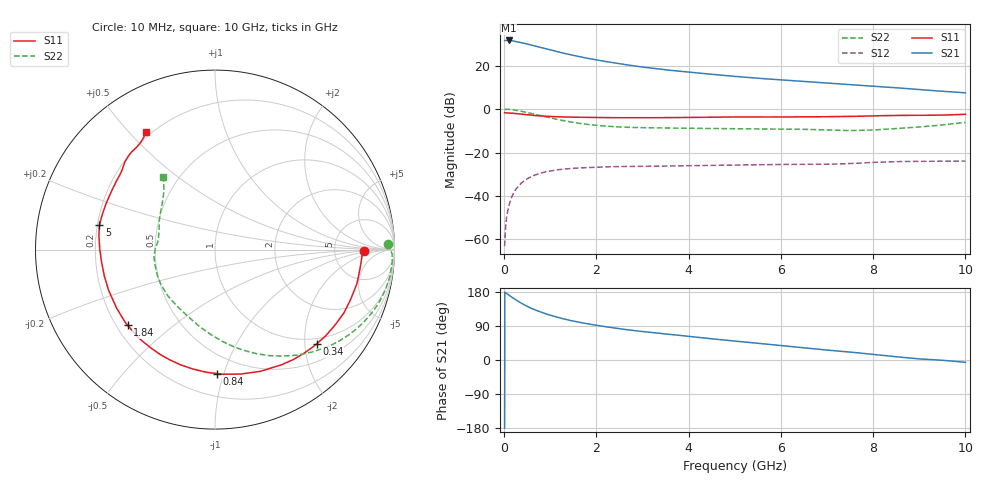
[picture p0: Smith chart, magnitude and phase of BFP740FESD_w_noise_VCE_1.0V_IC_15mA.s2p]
! Infineon Technologies  Discrete & RF Semiconductors
! BFP740FESD
! VCE =  1.0 V,  IC =  15 mA
! Common Emitter S-Parameters:  Jan 2016
# GHz  S  MA  R  50
!  f  S11  S21  S12  S22
! GHz  MAG  ANG  MAG  ANG  MAG  ANG  MAG  ANG
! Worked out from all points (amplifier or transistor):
!   233 points, 10 MHz to 10 GHz, reference 50 ohm
!   highest |S21| = 31.6 dB at 100 MHz (marker M1)
!   |S21| within 3 dB of that: start of sweep to 742.8 MHz
!   unconditionally stable (mu >= 1): 5.928 GHz to end of sweep
!   at 200 MHz: K = 0.06, MSG = 35.1 dB, |S12| = -38.9 dB
!   at 1.74 GHz: K = 0.39, MSG = 25.3 dB, |S12| = -27.0 dB
!   at 10 GHz: K = 1.31, MAG = 12.4 dB, |S12| = -23.9 dB
!   lowest NFmin = 0.70 dB at 450 MHz
!   S11 on the Smith chart (normalised r, x): 10 MHz: 11, -1; 340 MHz: 0.87, -2.27; 840 MHz: 0.36, -0.95; 1.84 GHz: 0.24, -0.35; 5 GHz: 0.21, +0.10; 10 GHz: 0.18, +0.56
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0.01  0.8297 -0.6  37.66 -179.9  0.0007 104.7  0.9648 1.9
0.05  0.8161 -6.6  37.89 175.7  0.0031 89.4  0.9899 -4.1
0.1  0.8134 -13.3  37.98 171.7  0.0057 83.5  0.986 -8.7
0.15  0.8058 -19.9  37.57 167.1  0.0086 80.0  0.9756 -13.3
0.24  0.7917 -30.9  36.23 159.6  0.0135 74.0  0.9469 -20.9
0.34  0.7724 -42.8  34.53 152.1  0.0183 68.1  0.9061 -28.8
0.45  0.7518 -54.7  32.39 144.7  0.0229 62.4  0.857 -36.7
0.6  0.7241 -69.4  29.48 135.8  0.0283 55.5  0.7865 -46.5
0.84  0.6904 -89.2  25.27 124.6  0.0346 46.6  0.6851 -59.8
1  0.6766 -100.5  22.9 118.1  0.0377 41.9  0.6266 -67.9
1.2  0.6639 -112.5  20.34 111.2  0.0406 36.9  0.5649 -77.0
1.4  0.6546 -122.6  18.16 105.3  0.0426 32.9  0.5143 -85.2
1.68  0.6464 -133.8  15.74 98.4  0.0446 28.6  0.4628 -95.1
1.84  0.6441 -139.1  14.55 94.9  0.0454 26.7  0.4412 -100.2
2.2  0.6377 -149.4  12.45 87.8  0.0468 23.1  0.4058 -110.6
2.6  0.6352 -159.0  10.66 80.9  0.0477 20.2  0.3836 -120.8
3.4  0.6347 -172.5  8.253 70.1  0.0487 17.4  0.3688 -134.2
5  0.6582 168.1  5.657 49.8  0.0515 14.9  0.3538 -153.9
5.1  0.6577 167.1  5.545 48.7  0.0517 14.8  0.3526 -155.0
6.8  0.6651 147.6  4.107 28.7  0.0538 13.6  0.3356 -178.2
8.4  0.7119 132.2  3.155 9.8  0.0615 13.7  0.351 152.0
10  0.7583 120.3  2.369 -6.0  0.0638 8.7  0.4944 125.5
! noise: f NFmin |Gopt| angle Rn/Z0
0.45  0.7  0.1  -3  0.09
2.4  0.74  0.04  45  0.1
5.5  0.9  0.24  150  0.08
10  1.43  0.37  -126  0.15
